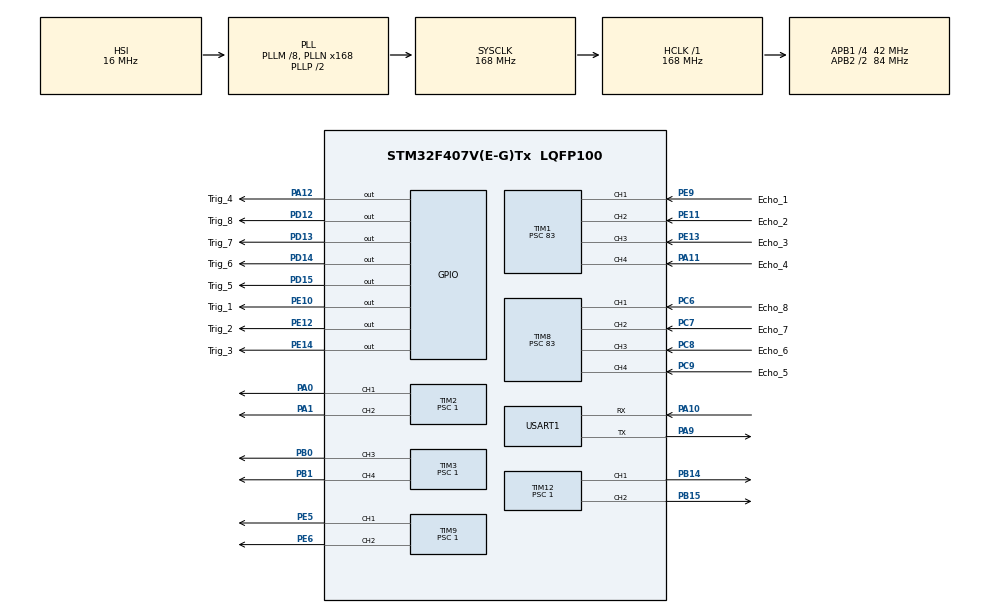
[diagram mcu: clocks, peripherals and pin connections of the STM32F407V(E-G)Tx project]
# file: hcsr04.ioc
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Mcu.Family=STM32F4
Mcu.Name=STM32F407V(E-G)Tx
Mcu.Package=LQFP100
NVIC.PriorityGroup=NVIC_PRIORITYGROUP_4
NVIC.TIM1_BRK_TIM9_IRQn=true\:0\:0\:false\:false\:true\:true\:true\:true
NVIC.TIM1_CC_IRQn=true\:0\:0\:false\:false\:true\:true\:true\:true
NVIC.TIM1_TRG_COM_TIM11_IRQn=true\:0\:0\:false\:false\:true\:true\:true\:true
NVIC.TIM1_UP_TIM10_IRQn=true\:0\:0\:false\:false\:true\:true\:true\:true
NVIC.TIM8_BRK_TIM12_IRQn=true\:0\:0\:false\:false\:true\:true\:true\:true
NVIC.TIM8_CC_IRQn=true\:0\:0\:false\:false\:true\:true\:true\:true
NVIC.TIM8_TRG_COM_TIM14_IRQn=true\:0\:0\:false\:false\:true\:true\:true\:true
NVIC.TIM8_UP_TIM13_IRQn=true\:0\:0\:false\:false\:true\:true\:true\:true
PA0-WKUP.Signal=S_TIM2_CH1_ETR
PA1.Signal=S_TIM2_CH2
PA10.Mode=Asynchronous
PA10.Signal=USART1_RX
PA11.GPIO_Label=Echo_4
PA11.GPIO_PuPd=GPIO_PULLDOWN
PA11.Signal=S_TIM1_CH4
PA12.GPIO_Label=Trig_4
PA12.Signal=GPIO_Output
PA9.Mode=Asynchronous
PA9.Signal=USART1_TX
PB0.Signal=S_TIM3_CH3
PB1.Signal=S_TIM3_CH4
PB14.Signal=S_TIM12_CH1
PB15.Signal=S_TIM12_CH2
PC6.GPIO_Label=Echo_8
PC6.GPIO_PuPd=GPIO_PULLDOWN
PC6.Signal=S_TIM8_CH1
PC7.GPIO_Label=Echo_7
PC7.GPIO_PuPd=GPIO_PULLDOWN
PC7.Signal=S_TIM8_CH2
PC8.GPIO_Label=Echo_6
PC8.GPIO_PuPd=GPIO_PULLDOWN
PC8.Signal=S_TIM8_CH3
PC9.GPIO_Label=Echo_5
PC9.GPIO_PuPd=GPIO_PULLDOWN
PC9.Signal=S_TIM8_CH4
PD12.GPIO_Label=Trig_8
PD12.GPIO_PuPd=GPIO_NOPULL
PD12.Signal=GPIO_Output
PD13.GPIO_Label=Trig_7
PD13.Signal=GPIO_Output
PD14.GPIO_Label=Trig_6
PD14.Signal=GPIO_Output
PD15.GPIO_Label=Trig_5
PD15.Signal=GPIO_Output
PE10.GPIO_Label=Trig_1
PE10.Signal=GPIO_Output
PE11.GPIO_Label=Echo_2
PE11.GPIO_PuPd=GPIO_PULLDOWN
PE11.Signal=S_TIM1_CH2
PE12.GPIO_Label=Trig_2
PE12.Signal=GPIO_Output
PE13.GPIO_Label=Echo_3
PE13.GPIO_PuPd=GPIO_PULLDOWN
PE13.Signal=S_TIM1_CH3
PE14.GPIO_Label=Trig_3
PE14.Signal=GPIO_Output
PE5.Signal=S_TIM9_CH1
PE6.Signal=S_TIM9_CH2
PE9.GPIO_Label=Echo_1
PE9.GPIO_PuPd=GPIO_PULLDOWN
PE9.Signal=S_TIM1_CH1
PH0-OSC_IN.Mode=HSE-External-Oscillator
PH0-OSC_IN.Signal=RCC_OSC_IN
PH1-OSC_OUT.Mode=HSE-External-Oscillator
PH1-OSC_OUT.Signal=RCC_OSC_OUT
ProjectManager.HeapSize=0x200
ProjectManager.StackSize=0x400
ProjectManager.TargetToolchain=STM32CubeIDE
RCC.48MHZClocksFreq_Value=84000000
RCC.AHBFreq_Value=168000000
RCC.APB1CLKDivider=RCC_HCLK_DIV4
RCC.APB1Freq_Value=42000000
RCC.APB1TimFreq_Value=84000000
RCC.APB2CLKDivider=RCC_HCLK_DIV2
RCC.APB2Freq_Value=84000000
RCC.APB2TimFreq_Value=168000000
RCC.CortexFreq_Value=168000000
RCC.HCLKFreq_Value=168000000
RCC.HSE_VALUE=25000000
RCC.HSI_VALUE=16000000
RCC.LSE_VALUE=32768
RCC.PLLM=8
RCC.PLLN=168
RCC.SYSCLKFreq_VALUE=168000000
RCC.SYSCLKSource=RCC_SYSCLKSOURCE_PLLCLK
RCC.VCOOutputFreq_Value=336000000
SH.S_TIM12_CH1.0=TIM12_CH1,PWM Generation1 CH1
SH.S_TIM12_CH2.0=TIM12_CH2,PWM Generation2 CH2
SH.S_TIM1_CH1.0=TIM1_CH1,Input_Capture1_from_TI1
SH.S_TIM1_CH2.0=TIM1_CH2,Input_Capture2_from_TI2
SH.S_TIM1_CH3.0=TIM1_CH3,Input_Capture3_from_TI3
SH.S_TIM1_CH4.0=TIM1_CH4,Input_Capture4_from_TI4
SH.S_TIM2_CH1_ETR.0=TIM2_CH1,PWM Generation1 CH1
SH.S_TIM2_CH2.0=TIM2_CH2,PWM Generation2 CH2
SH.S_TIM3_CH3.0=TIM3_CH3,PWM Generation3 CH3
SH.S_TIM3_CH4.0=TIM3_CH4,PWM Generation4 CH4
SH.S_TIM8_CH1.0=TIM8_CH1,Input_Capture1_from_TI1
SH.S_TIM8_CH2.0=TIM8_CH2,Input_Capture2_from_TI2
SH.S_TIM8_CH3.0=TIM8_CH3,Input_Capture3_from_TI3
SH.S_TIM8_CH4.0=TIM8_CH4,Input_Capture4_from_TI4
SH.S_TIM9_CH1.0=TIM9_CH1,PWM Generation1 CH1
SH.S_TIM9_CH2.0=TIM9_CH2,PWM Generation2 CH2
TIM1.Channel-Input_Capture1_from_TI1=TIM_CHANNEL_1
TIM1.Channel-Input_Capture2_from_TI2=TIM_CHANNEL_2
TIM1.Channel-Input_Capture3_from_TI3=TIM_CHANNEL_3
TIM1.Channel-Input_Capture4_from_TI4=TIM_CHANNEL_4
TIM1.Prescaler=83
TIM12.AutoReloadPreload=TIM_AUTORELOAD_PRELOAD_ENABLE
TIM12.Channel-PWM\ Generation1\ CH1=TIM_CHANNEL_1
TIM12.Channel-PWM\ Generation2\ CH2=TIM_CHANNEL_2
TIM12.Period=4199
TIM12.Prescaler=1
TIM2.AutoReloadPreload=TIM_AUTORELOAD_PRELOAD_ENABLE
TIM2.Channel-PWM\ Generation1\ CH1=TIM_CHANNEL_1
TIM2.Channel-PWM\ Generation2\ CH2=TIM_CHANNEL_2
TIM2.Period=4199
TIM2.Prescaler=1
TIM3.Channel-PWM\ Generation3\ CH3=TIM_CHANNEL_3
TIM3.Channel-PWM\ Generation4\ CH4=TIM_CHANNEL_4
TIM3.Period=4199
TIM3.Prescaler=1
TIM5.AutoReloadPreload=TIM_AUTORELOAD_PRELOAD_ENABLE
TIM5.Prescaler=15
TIM8.Channel-Input_Capture1_from_TI1=TIM_CHANNEL_1
TIM8.Channel-Input_Capture2_from_TI2=TIM_CHANNEL_2
TIM8.Channel-Input_Capture3_from_TI3=TIM_CHANNEL_3
TIM8.Channel-Input_Capture4_from_TI4=TIM_CHANNEL_4
TIM8.Prescaler=83
TIM9.Channel-PWM\ Generation1\ CH1=TIM_CHANNEL_1
TIM9.Channel-PWM\ Generation2\ CH2=TIM_CHANNEL_2
TIM9.Period=4199
TIM9.Prescaler=1
USART1.VirtualMode=VM_ASYNC
VP_TIM1_VS_ClockSourceINT.Mode=Internal
VP_TIM2_VS_ClockSourceINT.Mode=Internal
VP_TIM5_VS_ClockSourceINT.Mode=Internal
VP_TIM8_VS_ClockSourceINT.Mode=Internal
board=custom

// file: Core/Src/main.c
/* USER CODE BEGIN Header */
/**
  ******************************************************************************
  * @file           : main.c
  * @brief          : Main program body - 8 HC-SR04 Optimized (LOW LATENCY)
  ******************************************************************************
  * Informasi 8 sensor ultrasonik
  * Sensor 1: Echo_1 = PE9  (TIM1_CH1) Trig_1 = PE10 (Dp_Kn)
  * Sensor 2: Echo_2 = PE11 (TIM1_CH2) Trig_2 = PE12 (Dp_Kr)
  * Sensor 3: Echo_3 = PE13 (TIM1_CH3) Trig_3 = PE14 (Sp_Kr_Dp)
  * Sensor 4: Echo_4 = PA11 (TIM1_CH4) Trig_4 = PA12 (Sp_Kr_Bl)
  * Sensor 5: Echo_5 = PC9  (TIM8_CH4) Trig_5 = PD15 (Bl_Kr)
  * Sensor 6: Echo_6 = PC8  (TIM8_CH3) Trig_6 = PD14 (Bl_Kn)
  * Sensor 7: Echo_7 = PC7  (TIM8_CH2) Trig_7 = PD13 (Sp_Kn_Bl)
  * Sensor 8: Echo_8 = PC6  (TIM8_CH1) Trig_8 = PD12 (Sp_Kn_Dp)
  * UART: TX = PA9, RX = PA10 (USART1) --> ke laptop
  * Ket
  * Dp = depan		Kn = Kanan		Sp = Samping
  * Bl = Belakang	Kr = Kiri
  */
/* USER CODE END Header */
#include "main.h"

/* USER CODE BEGIN Includes */
#include <stdio.h>
#include <string.h>
#include <stdbool.h>
#include "hcsr04_sensor.h"
#include "motor_control.h"
/* USER CODE END Includes */

/* USER CODE BEGIN PTD */
#define MEASUREMENT_INTERVAL_MS 15 // Interval antar pengukuran
/* USER CODE END PTD */

TIM_HandleTypeDef htim1;
TIM_HandleTypeDef htim2;
TIM_HandleTypeDef htim3;
TIM_HandleTypeDef htim5;
TIM_HandleTypeDef htim8;
TIM_HandleTypeDef htim9;
TIM_HandleTypeDef htim12;

UART_HandleTypeDef huart1;

/* USER CODE BEGIN PV */
// Sensor variables moved to hcsr04_sensor.c
/* USER CODE END PV */

void SystemClock_Config(void);
static void MX_GPIO_Init(void);
static void MX_TIM1_Init(void);
static void MX_TIM8_Init(void);
static void MX_TIM2_Init(void);
static void MX_USART1_UART_Init(void);
static void MX_TIM3_Init(void);
static void MX_TIM5_Init(void);
static void MX_TIM9_Init(void);
static void MX_TIM12_Init(void);
/* USER CODE BEGIN PFP */
// Functions now in hcsr04_sensor.c library
/* USER CODE END PFP */

/* USER CODE BEGIN 0 */

// ==================== Override printf untuk UART ====================
int _write(int file, char *ptr, int len) {
    HAL_UART_Transmit(&huart1, (uint8_t*)ptr, len, HAL_MAX_DELAY);
    return len;
}

/* USER CODE END 0 */

int main(void)
{

  /* MCU Configuration--------------------------------------------------------*/

  /* Reset of all peripherals, Initializes the Flash interface and the Systick. */
  HAL_Init();

  /* Configure the system clock */
  SystemClock_Config();

  /* Initialize all configured peripherals */
  MX_GPIO_Init();
  MX_TIM1_Init();
  MX_TIM8_Init();
  MX_TIM2_Init();
  MX_USART1_UART_Init();
  MX_TIM3_Init();
  MX_TIM5_Init();
  MX_TIM9_Init();
  MX_TIM12_Init();
  /* USER CODE BEGIN 2 */

  // Initialize HC-SR04 sensor library
  HC_SR04_Delay_Init(&htim5);  // Initialize delay timer
  HAL_Delay(100);               // Wait for timers to stabilize
  HC_SR04_Init();               // Initialize all 8 sensors + start input capture
  HAL_Delay(200);               // Wait for sensors to settle after power-on

  // Dummy reads to clear any noise
  HC_SR04_Trigger_All();
  HAL_Delay(60);
  HC_SR04_Trigger_All();
  HAL_Delay(60);

  Motor_Init();

  printf("SYSTEM READY - CONTINUOUS FORWARD MODE\r\n");
  printf("Sensor settling complete.\r\n");
  HAL_Delay(100);

  /* USER CODE END 2 */

  /* Infinite loop */
  while (1)
  {

    /* USER CODE BEGIN 3 */

    // ========================================================================
    // DIAGNOSTIC MODE: Test motor direction one by one
    // ========================================================================
    // Uncomment salah satu mode:
    // MODE 1: Test individual motors (untuk cek arah tiap motor)
    // MODE 2: Continuous forward with sensor detection
    // ========================================================================

    #define DIAGNOSTIC_MODE 0  // Set to 1 for motor test, 0 for normal operation

#if DIAGNOSTIC_MODE == 1
    // ========================================================================
    // DIAGNOSTIC: Test each motor individually
    // ========================================================================
    printf("\r\n=== MOTOR DIAGNOSTIC MODE ===\r\n");
    printf("Testing each motor forward (speed 30%%) for 2 seconds\r\n");
    printf("Check which motors go FORWARD vs BACKWARD\r\n\n");

    while (1) {
        printf("Testing MOTOR_1 (B - Kanan Depan)...\r\n");
        Motor_SetSpeed(MOTOR_1, 30);
        HAL_Delay(2000);
        Motor_Stop_All();
        HAL_Delay(1000);

        printf("Testing MOTOR_2 (C - Kiri Depan)...\r\n");
        Motor_SetSpeed(MOTOR_2, 30);
        HAL_Delay(2000);
        Motor_Stop_All();
        HAL_Delay(1000);

        printf("Testing MOTOR_3 (A - Kanan Belakang)...\r\n");
        Motor_SetSpeed(MOTOR_3, 30);
        HAL_Delay(2000);
        Motor_Stop_All();
        HAL_Delay(1000);

        printf("Testing MOTOR_4 (D - Kiri Belakang)...\r\n");
        Motor_SetSpeed(MOTOR_4, 30);
        HAL_Delay(2000);
        Motor_Stop_All();
        HAL_Delay(1000);

        printf("\r\n=== Cycle complete. Check serial output ===\r\n");
        printf("Press RESET to test again.\r\n");
        while (1) { HAL_Delay(1000); }
    }

#else
    // ========================================================================
    // NORMAL MODE: Forward dengan auto turn LEFT saat ada halangan depan
    // ========================================================================
    const float THRESHOLD = 10.0f;         // cm - safety threshold (TIDAK DIUBAH)
    const int16_t FORWARD_SPEED = 5;      // 20% PWM untuk maju
    const int16_t TURN_SPEED = 5;         // 25% PWM untuk belok
    const uint16_t TURN_DURATION_MS = 800; // Durasi belok (ms)

    printf("\r\n=== AUTO LEFT TURN MODE ===\r\n");
    printf("Forward Speed: %d%%, Turn Speed: %d%%\r\n", FORWARD_SPEED, TURN_SPEED);
    printf("Stop Threshold: %.1f cm\r\n", THRESHOLD);
    printf("Action: Auto turn LEFT when obstacle detected\r\n\n");

    while (1) {
        // ========================================================================
        // STEP 1: Baca sensor depan (US1 dan US2)
        // ========================================================================
        HC_SR04_Trigger_All();
        HAL_Delay(50);  // Wait for echo capture

        // Hitung jarak sensor depan
        float sensor_a = HC_SR04_Calculate_Distance(&sensors[0]);  // US1 - Depan Kiri
        float sensor_b = HC_SR04_Calculate_Distance(&sensors[1]);  // US2 - Depan Kanan

        // Deteksi halangan di depan (sensor A DAN B)
        bool front_blocked = (sensor_a > 0 && sensor_a < THRESHOLD) &&
                             (sensor_b > 0 && sensor_b < THRESHOLD);

        // ========================================================================
        // STEP 2: Logika Navigasi Sederhana
        // ========================================================================
        if (front_blocked) {
            // DEPAN TERHALANG - BERHENTI dan BELOK KIRI LANGSUNG
            Motor_Stop_All();
            printf("\r\n*** OBSTACLE DETECTED ***\r\n");
            printf("Front: A=%.1fcm, B=%.1fcm\r\n", sensor_a, sensor_b);
            printf("Stopping...\r\n");

            HAL_Delay(300);  // Berhenti sejenak (300ms)

            printf("Turning LEFT...\r\n\n");

            // BELOK KIRI: Motor kanan maju, motor kiri mundur
            Motor_SetSpeed(MOTOR_1, TURN_SPEED);   // Kanan Depan - Maju
            Motor_SetSpeed(MOTOR_3, TURN_SPEED);   // Kanan Belakang - Maju
            Motor_SetSpeed(MOTOR_2, -TURN_SPEED);  // Kiri Depan - Mundur
            Motor_SetSpeed(MOTOR_4, -TURN_SPEED);  // Kiri Belakang - Mundur

            HAL_Delay(TURN_DURATION_MS);  // Belok selama durasi yang ditentukan

            Motor_Stop_All();
            HAL_Delay(200);  // Pause setelah belok

            printf("Turn complete. Resuming forward...\r\n");

        } else {
            // ====================================================================
            // DEPAN BEBAS - MAJU TERUS
            // ====================================================================
            Motor_SetSpeed(MOTOR_1, FORWARD_SPEED);
            Motor_SetSpeed(MOTOR_2, FORWARD_SPEED);
            Motor_SetSpeed(MOTOR_3, FORWARD_SPEED);
            Motor_SetSpeed(MOTOR_4, FORWARD_SPEED);

            printf("FORWARD - A=%.1fcm, B=%.1fcm\r\n", sensor_a, sensor_b);

            HAL_Delay(100);
        }
    }
#endif

  }  // Close while(1) loop

  /* USER CODE END 3 */
}

void SystemClock_Config(void)
{
  RCC_OscInitTypeDef RCC_OscInitStruct = {0};
  RCC_ClkInitTypeDef RCC_ClkInitStruct = {0};

  /** Configure the main internal regulator output voltage
  */
  __HAL_RCC_PWR_CLK_ENABLE();
  __HAL_PWR_VOLTAGESCALING_CONFIG(PWR_REGULATOR_VOLTAGE_SCALE1);

  /** Initializes the RCC Oscillators according to the specified parameters
  * in the RCC_OscInitTypeDef structure.
  */
  RCC_OscInitStruct.OscillatorType = RCC_OSCILLATORTYPE_HSI;
  RCC_OscInitStruct.HSIState = RCC_HSI_ON;
  RCC_OscInitStruct.HSICalibrationValue = RCC_HSICALIBRATION_DEFAULT;
  RCC_OscInitStruct.PLL.PLLState = RCC_PLL_ON;
  RCC_OscInitStruct.PLL.PLLSource = RCC_PLLSOURCE_HSI;
  RCC_OscInitStruct.PLL.PLLM = 8;
  RCC_OscInitStruct.PLL.PLLN = 168;
  RCC_OscInitStruct.PLL.PLLP = RCC_PLLP_DIV2;
  RCC_OscInitStruct.PLL.PLLQ = 4;
  if (HAL_RCC_OscConfig(&RCC_OscInitStruct) != HAL_OK)
  {
    Error_Handler();
  }

  /** Initializes the CPU, AHB and APB buses clocks
  */
  RCC_ClkInitStruct.ClockType = RCC_CLOCKTYPE_HCLK|RCC_CLOCKTYPE_SYSCLK
                              |RCC_CLOCKTYPE_PCLK1|RCC_CLOCKTYPE_PCLK2;
  RCC_ClkInitStruct.SYSCLKSource = RCC_SYSCLKSOURCE_PLLCLK;
  RCC_ClkInitStruct.AHBCLKDivider = RCC_SYSCLK_DIV1;
  RCC_ClkInitStruct.APB1CLKDivider = RCC_HCLK_DIV4;
  RCC_ClkInitStruct.APB2CLKDivider = RCC_HCLK_DIV2;

  if (HAL_RCC_ClockConfig(&RCC_ClkInitStruct, FLASH_LATENCY_5) != HAL_OK)
  {
    Error_Handler();
  }
}

static void MX_TIM1_Init(void)
{

  TIM_ClockConfigTypeDef sClockSourceConfig = {0};
  TIM_MasterConfigTypeDef sMasterConfig = {0};
  TIM_IC_InitTypeDef sConfigIC = {0};

  htim1.Instance = TIM1;
  htim1.Init.Prescaler = 83;
  htim1.Init.CounterMode = TIM_COUNTERMODE_UP;
  htim1.Init.Period = 65535;
  htim1.Init.ClockDivision = TIM_CLOCKDIVISION_DIV1;
  htim1.Init.RepetitionCounter = 0;
  htim1.Init.AutoReloadPreload = TIM_AUTORELOAD_PRELOAD_DISABLE;
  if (HAL_TIM_Base_Init(&htim1) != HAL_OK)
  {
    Error_Handler();
  }
  sClockSourceConfig.ClockSource = TIM_CLOCKSOURCE_INTERNAL;
  if (HAL_TIM_ConfigClockSource(&htim1, &sClockSourceConfig) != HAL_OK)
  {
    Error_Handler();
  }
  if (HAL_TIM_IC_Init(&htim1) != HAL_OK)
  {
    Error_Handler();
  }
  sMasterConfig.MasterOutputTrigger = TIM_TRGO_RESET;
  sMasterConfig.MasterSlaveMode = TIM_MASTERSLAVEMODE_DISABLE;
  if (HAL_TIMEx_MasterConfigSynchronization(&htim1, &sMasterConfig) != HAL_OK)
  {
    Error_Handler();
  }
  sConfigIC.ICPolarity = TIM_INPUTCHANNELPOLARITY_RISING;
  sConfigIC.ICSelection = TIM_ICSELECTION_DIRECTTI;
  sConfigIC.ICPrescaler = TIM_ICPSC_DIV1;
  sConfigIC.ICFilter = 0;
  if (HAL_TIM_IC_ConfigChannel(&htim1, &sConfigIC, TIM_CHANNEL_1) != HAL_OK)
  {
    Error_Handler();
  }
  if (HAL_TIM_IC_ConfigChannel(&htim1, &sConfigIC, TIM_CHANNEL_2) != HAL_OK)
  {
    Error_Handler();
  }
  if (HAL_TIM_IC_ConfigChannel(&htim1, &sConfigIC, TIM_CHANNEL_3) != HAL_OK)
  {
    Error_Handler();
  }
  if (HAL_TIM_IC_ConfigChannel(&htim1, &sConfigIC, TIM_CHANNEL_4) != HAL_OK)
  {
    Error_Handler();
  }

}

static void MX_TIM2_Init(void)
{

  TIM_ClockConfigTypeDef sClockSourceConfig = {0};
  TIM_MasterConfigTypeDef sMasterConfig = {0};
  TIM_OC_InitTypeDef sConfigOC = {0};

  htim2.Instance = TIM2;
  htim2.Init.Prescaler = 1;
  htim2.Init.CounterMode = TIM_COUNTERMODE_UP;
  htim2.Init.Period = 4199;
  htim2.Init.ClockDivision = TIM_CLOCKDIVISION_DIV1;
  htim2.Init.AutoReloadPreload = TIM_AUTORELOAD_PRELOAD_ENABLE;
  if (HAL_TIM_Base_Init(&htim2) != HAL_OK)
  {
    Error_Handler();
  }
  sClockSourceConfig.ClockSource = TIM_CLOCKSOURCE_INTERNAL;
  if (HAL_TIM_ConfigClockSource(&htim2, &sClockSourceConfig) != HAL_OK)
  {
    Error_Handler();
  }
  if (HAL_TIM_PWM_Init(&htim2) != HAL_OK)
  {
    Error_Handler();
  }
  sMasterConfig.MasterOutputTrigger = TIM_TRGO_RESET;
  sMasterConfig.MasterSlaveMode = TIM_MASTERSLAVEMODE_DISABLE;
  if (HAL_TIMEx_MasterConfigSynchronization(&htim2, &sMasterConfig) != HAL_OK)
  {
    Error_Handler();
  }
  sConfigOC.OCMode = TIM_OCMODE_PWM1;
  sConfigOC.Pulse = 0;
  sConfigOC.OCPolarity = TIM_OCPOLARITY_HIGH;
  sConfigOC.OCFastMode = TIM_OCFAST_DISABLE;
  if (HAL_TIM_PWM_ConfigChannel(&htim2, &sConfigOC, TIM_CHANNEL_1) != HAL_OK)
  {
    Error_Handler();
  }
  if (HAL_TIM_PWM_ConfigChannel(&htim2, &sConfigOC, TIM_CHANNEL_2) != HAL_OK)
  {
    Error_Handler();
  }
  HAL_TIM_MspPostInit(&htim2);

}

static void MX_TIM3_Init(void)
{

  TIM_MasterConfigTypeDef sMasterConfig = {0};
  TIM_OC_InitTypeDef sConfigOC = {0};

  htim3.Instance = TIM3;
  htim3.Init.Prescaler = 1;
  htim3.Init.CounterMode = TIM_COUNTERMODE_UP;
  htim3.Init.Period = 4199;
  htim3.Init.ClockDivision = TIM_CLOCKDIVISION_DIV1;
  htim3.Init.AutoReloadPreload = TIM_AUTORELOAD_PRELOAD_DISABLE;
  if (HAL_TIM_PWM_Init(&htim3) != HAL_OK)
  {
    Error_Handler();
  }
  sMasterConfig.MasterOutputTrigger = TIM_TRGO_RESET;
  sMasterConfig.MasterSlaveMode = TIM_MASTERSLAVEMODE_DISABLE;
  if (HAL_TIMEx_MasterConfigSynchronization(&htim3, &sMasterConfig) != HAL_OK)
  {
    Error_Handler();
  }
  sConfigOC.OCMode = TIM_OCMODE_PWM1;
  sConfigOC.Pulse = 0;
  sConfigOC.OCPolarity = TIM_OCPOLARITY_HIGH;
  sConfigOC.OCFastMode = TIM_OCFAST_DISABLE;
  if (HAL_TIM_PWM_ConfigChannel(&htim3, &sConfigOC, TIM_CHANNEL_3) != HAL_OK)
  {
    Error_Handler();
  }
  if (HAL_TIM_PWM_ConfigChannel(&htim3, &sConfigOC, TIM_CHANNEL_4) != HAL_OK)
  {
    Error_Handler();
  }
  HAL_TIM_MspPostInit(&htim3);

}

static void MX_TIM5_Init(void)
{

  TIM_ClockConfigTypeDef sClockSourceConfig = {0};
  TIM_MasterConfigTypeDef sMasterConfig = {0};

  htim5.Instance = TIM5;
  htim5.Init.Prescaler = 15;
  htim5.Init.CounterMode = TIM_COUNTERMODE_UP;
  htim5.Init.Period = 4294967295;
  htim5.Init.ClockDivision = TIM_CLOCKDIVISION_DIV1;
  htim5.Init.AutoReloadPreload = TIM_AUTORELOAD_PRELOAD_ENABLE;
  if (HAL_TIM_Base_Init(&htim5) != HAL_OK)
  {
    Error_Handler();
  }
  sClockSourceConfig.ClockSource = TIM_CLOCKSOURCE_INTERNAL;
  if (HAL_TIM_ConfigClockSource(&htim5, &sClockSourceConfig) != HAL_OK)
  {
    Error_Handler();
  }
  sMasterConfig.MasterOutputTrigger = TIM_TRGO_RESET;
  sMasterConfig.MasterSlaveMode = TIM_MASTERSLAVEMODE_DISABLE;
  if (HAL_TIMEx_MasterConfigSynchronization(&htim5, &sMasterConfig) != HAL_OK)
  {
    Error_Handler();
  }

}

static void MX_TIM8_Init(void)
{

  TIM_ClockConfigTypeDef sClockSourceConfig = {0};
  TIM_MasterConfigTypeDef sMasterConfig = {0};
  TIM_IC_InitTypeDef sConfigIC = {0};

  htim8.Instance = TIM8;
  htim8.Init.Prescaler = 83;
  htim8.Init.CounterMode = TIM_COUNTERMODE_UP;
  htim8.Init.Period = 65535;
  htim8.Init.ClockDivision = TIM_CLOCKDIVISION_DIV1;
  htim8.Init.RepetitionCounter = 0;
  htim8.Init.AutoReloadPreload = TIM_AUTORELOAD_PRELOAD_DISABLE;
  if (HAL_TIM_Base_Init(&htim8) != HAL_OK)
  {
    Error_Handler();
  }
  sClockSourceConfig.ClockSource = TIM_CLOCKSOURCE_INTERNAL;
  if (HAL_TIM_ConfigClockSource(&htim8, &sClockSourceConfig) != HAL_OK)
  {
    Error_Handler();
  }
  if (HAL_TIM_IC_Init(&htim8) != HAL_OK)
  {
    Error_Handler();
  }
  sMasterConfig.MasterOutputTrigger = TIM_TRGO_RESET;
  sMasterConfig.MasterSlaveMode = TIM_MASTERSLAVEMODE_DISABLE;
  if (HAL_TIMEx_MasterConfigSynchronization(&htim8, &sMasterConfig) != HAL_OK)
  {
    Error_Handler();
  }
  sConfigIC.ICPolarity = TIM_INPUTCHANNELPOLARITY_RISING;
  sConfigIC.ICSelection = TIM_ICSELECTION_DIRECTTI;
  sConfigIC.ICPrescaler = TIM_ICPSC_DIV1;
  sConfigIC.ICFilter = 0;
  if (HAL_TIM_IC_ConfigChannel(&htim8, &sConfigIC, TIM_CHANNEL_1) != HAL_OK)
  {
    Error_Handler();
  }
  if (HAL_TIM_IC_ConfigChannel(&htim8, &sConfigIC, TIM_CHANNEL_2) != HAL_OK)
  {
    Error_Handler();
  }
  if (HAL_TIM_IC_ConfigChannel(&htim8, &sConfigIC, TIM_CHANNEL_3) != HAL_OK)
  {
    Error_Handler();
  }
  if (HAL_TIM_IC_ConfigChannel(&htim8, &sConfigIC, TIM_CHANNEL_4) != HAL_OK)
  {
    Error_Handler();
  }

}

static void MX_TIM9_Init(void)
{

  TIM_OC_InitTypeDef sConfigOC = {0};

  htim9.Instance = TIM9;
  htim9.Init.Prescaler = 1;
  htim9.Init.CounterMode = TIM_COUNTERMODE_UP;
  htim9.Init.Period = 4199;
  htim9.Init.ClockDivision = TIM_CLOCKDIVISION_DIV1;
  htim9.Init.AutoReloadPreload = TIM_AUTORELOAD_PRELOAD_DISABLE;
  if (HAL_TIM_PWM_Init(&htim9) != HAL_OK)
  {
    Error_Handler();
  }
  sConfigOC.OCMode = TIM_OCMODE_PWM1;
  sConfigOC.Pulse = 0;
  sConfigOC.OCPolarity = TIM_OCPOLARITY_HIGH;
  sConfigOC.OCFastMode = TIM_OCFAST_DISABLE;
  if (HAL_TIM_PWM_ConfigChannel(&htim9, &sConfigOC, TIM_CHANNEL_1) != HAL_OK)
  {
    Error_Handler();
  }
  if (HAL_TIM_PWM_ConfigChannel(&htim9, &sConfigOC, TIM_CHANNEL_2) != HAL_OK)
  {
    Error_Handler();
  }
  HAL_TIM_MspPostInit(&htim9);

}

static void MX_TIM12_Init(void)
{

  TIM_OC_InitTypeDef sConfigOC = {0};

  htim12.Instance = TIM12;
  htim12.Init.Prescaler = 1;
  htim12.Init.CounterMode = TIM_COUNTERMODE_UP;
  htim12.Init.Period = 4199;
  htim12.Init.ClockDivision = TIM_CLOCKDIVISION_DIV1;
  htim12.Init.AutoReloadPreload = TIM_AUTORELOAD_PRELOAD_ENABLE;
  if (HAL_TIM_PWM_Init(&htim12) != HAL_OK)
  {
    Error_Handler();
  }
  sConfigOC.OCMode = TIM_OCMODE_PWM1;
  sConfigOC.Pulse = 0;
  sConfigOC.OCPolarity = TIM_OCPOLARITY_HIGH;
  sConfigOC.OCFastMode = TIM_OCFAST_DISABLE;
  if (HAL_TIM_PWM_ConfigChannel(&htim12, &sConfigOC, TIM_CHANNEL_1) != HAL_OK)
  {
    Error_Handler();
  }
  if (HAL_TIM_PWM_ConfigChannel(&htim12, &sConfigOC, TIM_CHANNEL_2) != HAL_OK)
  {
    Error_Handler();
  }
  HAL_TIM_MspPostInit(&htim12);

}

static void MX_USART1_UART_Init(void)
{

  huart1.Instance = USART1;
  huart1.Init.BaudRate = 115200;
  huart1.Init.WordLength = UART_WORDLENGTH_8B;
  huart1.Init.StopBits = UART_STOPBITS_1;
  huart1.Init.Parity = UART_PARITY_NONE;
  huart1.Init.Mode = UART_MODE_TX_RX;
  huart1.Init.HwFlowCtl = UART_HWCONTROL_NONE;
  huart1.Init.OverSampling = UART_OVERSAMPLING_16;
  if (HAL_UART_Init(&huart1) != HAL_OK)
  {
    Error_Handler();
  }

}

static void MX_GPIO_Init(void)
{
  GPIO_InitTypeDef GPIO_InitStruct = {0};

  /* GPIO Ports Clock Enable */
  __HAL_RCC_GPIOE_CLK_ENABLE();
  __HAL_RCC_GPIOH_CLK_ENABLE();
  __HAL_RCC_GPIOA_CLK_ENABLE();
  __HAL_RCC_GPIOB_CLK_ENABLE();
  __HAL_RCC_GPIOD_CLK_ENABLE();
  __HAL_RCC_GPIOC_CLK_ENABLE();

  /*Configure GPIO pin Output Level */
  HAL_GPIO_WritePin(GPIOE, Trig_1_Pin|Trig_2_Pin|Trig_3_Pin, GPIO_PIN_RESET);

  /*Configure GPIO pin Output Level */
  HAL_GPIO_WritePin(GPIOD, Trig_8_Pin|Trig_7_Pin|Trig_6_Pin|Trig_5_Pin, GPIO_PIN_RESET);

  /*Configure GPIO pin Output Level */
  HAL_GPIO_WritePin(Trig_4_GPIO_Port, Trig_4_Pin, GPIO_PIN_RESET);

  /*Configure GPIO pins : Trig_1_Pin Trig_2_Pin Trig_3_Pin */
  GPIO_InitStruct.Pin = Trig_1_Pin|Trig_2_Pin|Trig_3_Pin;
  GPIO_InitStruct.Mode = GPIO_MODE_OUTPUT_PP;
  GPIO_InitStruct.Pull = GPIO_NOPULL;
  GPIO_InitStruct.Speed = GPIO_SPEED_FREQ_LOW;
  HAL_GPIO_Init(GPIOE, &GPIO_InitStruct);

  /*Configure GPIO pins : Trig_8_Pin Trig_7_Pin Trig_6_Pin Trig_5_Pin */
  GPIO_InitStruct.Pin = Trig_8_Pin|Trig_7_Pin|Trig_6_Pin|Trig_5_Pin;
  GPIO_InitStruct.Mode = GPIO_MODE_OUTPUT_PP;
  GPIO_InitStruct.Pull = GPIO_NOPULL;
  GPIO_InitStruct.Speed = GPIO_SPEED_FREQ_LOW;
  HAL_GPIO_Init(GPIOD, &GPIO_InitStruct);

  /*Configure GPIO pin : Trig_4_Pin */
  GPIO_InitStruct.Pin = Trig_4_Pin;
  GPIO_InitStruct.Mode = GPIO_MODE_OUTPUT_PP;
  GPIO_InitStruct.Pull = GPIO_NOPULL;
  GPIO_InitStruct.Speed = GPIO_SPEED_FREQ_LOW;
  HAL_GPIO_Init(Trig_4_GPIO_Port, &GPIO_InitStruct);

}

/* USER CODE BEGIN 4 */

// Forward interrupt to sensor library
void HAL_TIM_IC_CaptureCallback(TIM_HandleTypeDef *htim) {
    HC_SR04_Capture_Callback(htim);
}

/* USER CODE END 4 */

void Error_Handler(void)
{
  __disable_irq();
  while (1)
  {
  }
}
